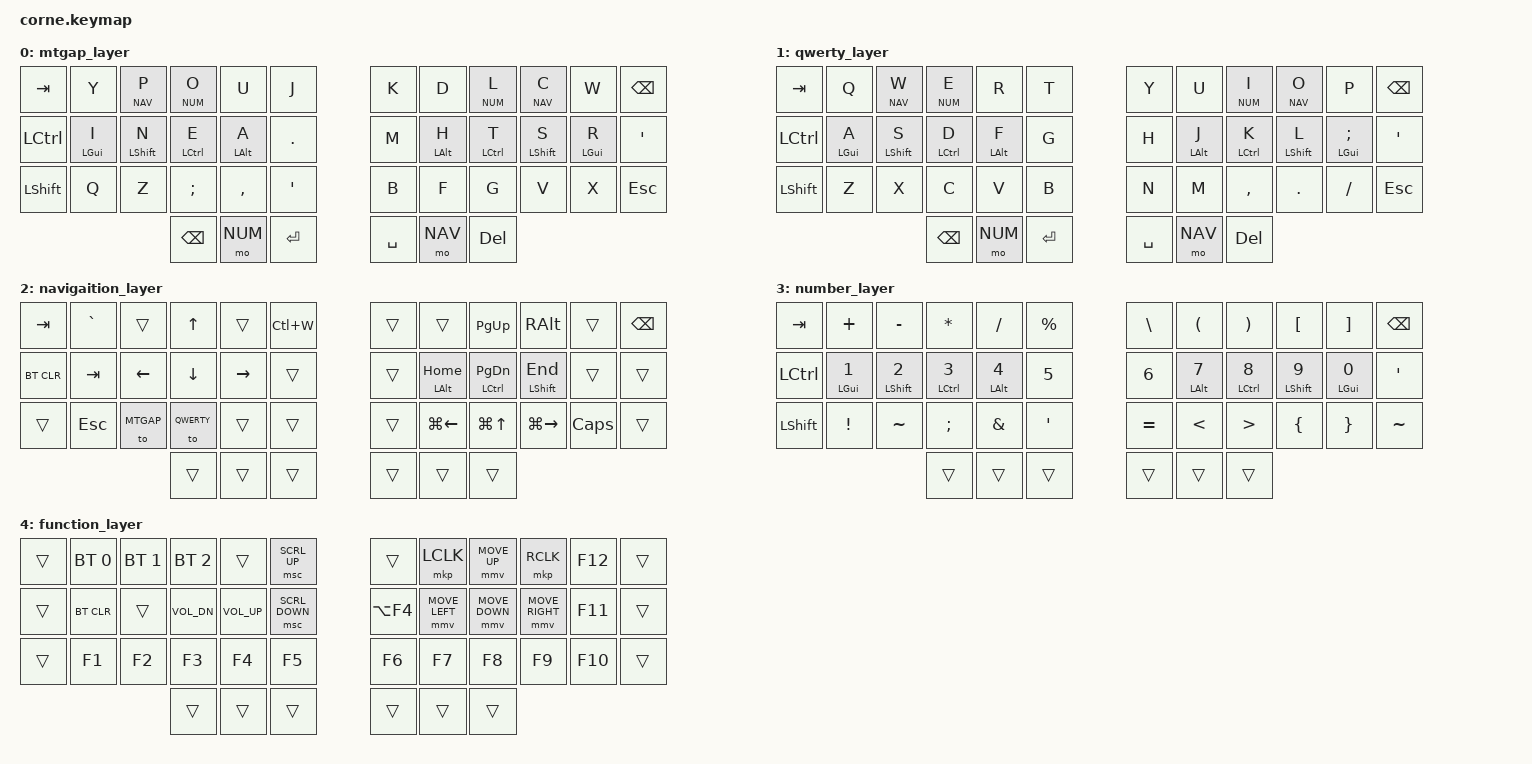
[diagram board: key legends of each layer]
/*
 * Copyright (c) 2020 The ZMK Contributors
 *
 * SPDX-License-Identifier: MIT
 */
 
#define MTGAP 0
#define QWERTY 1
#define NAV 2
#define NUM 3
#define FUNC 4
#define NOTHING 5

#include <behaviors/mouse_keys.dtsi>
#include <behaviors.dtsi>
#include <dt-bindings/zmk/bt.h>
#include <dt-bindings/zmk/keys.h>
#include <dt-bindings/zmk/mouse.h>

/ {
    conditional_layers {
        compatible = "zmk,conditional-layers";

        tri_layer {
            if-layers = <NAV NUM>;
            then-layer = <FUNC>;
        };
    };
};

/ {
    behaviors {
        ht: holdtap_tappreffered {
            compatible = "zmk,behavior-hold-tap";
            #binding-cells = <2>;
            flavor = "tap-preferred";
            tapping-term-ms = <200>;
            quick-tap-ms = <200>;
            require-prior-idle-ms = <125>;
            bindings = <&kp>, <&kp>;
        };
    };

    keymap {
        compatible = "zmk,keymap";

        mtgap_layer {
            // -----------------------------------------------------------------------------------------
            // |  TAB |  Y    |  P      |  O      |  U      |  J  |   |  K  |  D      |  L      |  C      |  W      | BKSP |
            // | CTRL | gui(I)|  sft(N) |  ctl(E) |  alt(A) |  .  |   |  M  |  alt(H) |  ctl(T) |  sft(S) |  gui(R) |  '   |
            // | SHFT |  Q    |  Z      |  ;      |  ,      |  '  |   |  B  |  F      |  G      |  V      |  X      | ESC  |
            //                          | bksp    | NUM     | SPC |   | ENT | RSE     | ALT     |

            bindings = <
&kp TAB    &kp Y       &lt NAV P    &lt NUM O    &kp U       &kp J        &kp K      &kp D       &lt NUM L    &lt NAV C    &kp W       &kp BSPC
&kp LCTRL  &ht LGUI I  &ht LSHFT N  &ht LCTRL E  &ht LALT A  &kp DOT      &kp M      &ht LALT H  &ht LCTRL T  &ht LSHFT S  &ht LGUI R  &kp SQT
&kp LSHFT  &kp Q       &kp Z        &kp SEMI     &kp COMMA   &kp SQT      &kp B      &kp F       &kp G        &kp V        &kp X       &kp ESC
                                    &kp BKSP     &mo NUM     &kp ENTER    &kp SPACE  &mo NAV     &kp DEL
            >;
        };

        qwerty_layer {
            // -----------------------------------------------------------------------------------------
            // |  TAB |  Q    |  W      |  E      |  R      |  T  |   |  Y  |  U      |  I      |  O      |  P      | BKSP |
            // | CTRL | gui(A)|  sft(S) |  ctl(D) |  alt(F) |  G  |   |  H  |  alt(J) |  ctl(K) |  sft(L) |  gui(;) |  '   |
            // | SHFT |  Z    |  X      |  C      |  V      |  B  |   |  N  |  M      |  ,      |  .      |  /      | ESC  |
            //                          | GUI     | LWR     | SPC |   | ENT | RSE     | ALT     |

            bindings = <
&kp TAB    &kp Q       &lt NAV W    &lt NUM E    &kp R       &kp T        &kp Y      &kp U       &lt NUM I    &lt NAV O    &kp P          &kp BSPC
&kp LCTRL  &ht LGUI A  &ht LSHFT S  &ht LCTRL D  &ht LALT F  &kp G        &kp H      &ht LALT J  &ht LCTRL K  &ht LSHFT L  &ht LGUI SEMI  &kp SQT
&kp LSHFT  &kp Z       &kp X        &kp C        &kp V       &kp B        &kp N      &kp M       &kp COMMA    &kp DOT      &kp FSLH       &kp ESC
                                    &kp BKSP     &mo NUM     &kp ENTER    &kp SPACE  &mo NAV     &kp DEL
            >;
        };

        navigaition_layer {
            // -----------------------------------------------------------------------------------------
            // |  TAB |  `  |     |  up |     |     |   |     |        | PGUP   | RALT  |     | BKSP |
            // | BTCLR| TAB | left| down|right|     |   |     |LA(HOME)|LC(PGDN)|LS(END)|     |      |
            // | SHFT | ESC |MTGAP|QWERT|     |     |   |     |G(left) |G(UP)   |G(RIGH)|CAPS |      |
            //                    |     |     |     |   |     |        |        |

            bindings = <
&kp TAB     &kp GRAVE  &trans     &kp UP      &trans     &kp LC(W)    &trans  &trans         &kp PG_UP        &kp RALT       &trans    &kp BSPC
&bt BT_CLR  &kp TAB    &kp LEFT   &kp DOWN    &kp RIGHT  &trans       &trans  &ht LALT HOME  &ht LCTRL PG_DN  &ht LSHFT END  &trans    &trans
&trans      &kp ESC    &to MTGAP  &to QWERTY  &trans     &trans       &trans  &kp LG(LEFT)   &kp LG(UP)       &kp LG(RIGHT)  &kp CAPS  &trans
                                  &trans      &trans     &trans       &trans  &trans         &trans
            >;
        };

        number_layer {
            // -----------------------------------------------------------------------------------------
            // |  TAB |  +  |  -  |  *  |  /  |  %  |   |  \  |  (  |  )  |  [  |  ]  | BKSP |
            // | CTRL |LG(1)|LS(2)|LC(3)|LA(4)|  5  |   |  6  |LA(7)|LC(8)|LS(9)|LG(0)|  `   |
            // | SHFT |  !  |  ~  |  ;  |  &  |  '  |   |  =  |  <  |  >  |  {  |  }  |  ~   |
            //                    | GUI |     | SPC |   | ENT |     | ALT |

            bindings = <
&kp TAB    &kp PLUS     &kp MINUS     &kp ASTRK     &kp SLASH    &kp PRCNT    &kp BSLH   &kp LPAR     &kp RPAR      &kp LBKT      &kp RBKT     &kp BSPC
&kp LCTRL  &ht LGUI N1  &ht LSHFT N2  &ht LCTRL N3  &ht LALT N4  &kp N5       &kp N6     &ht LALT N7  &ht LCTRL N8  &ht LSHFT N9  &ht LGUI N0  &kp SQT
&kp LSHFT  &kp EXCL     &kp TILDE     &kp SEMI      &kp AMPS     &kp SQT      &kp EQUAL  &kp LT       &kp GT        &kp LBRC      &kp RBRC     &kp TILDE
                                      &trans        &trans       &trans       &trans     &trans       &trans
            >;
        };

        function_layer {
            // -----------------------------------------------------------------------------------------
            // |      | BT1 | BT2 | BT3 |     |MSCDN|   |     |mkpL |mmvUP|mkpR | F12 |      |
            // |      |BTCLR|     |VOLDN|VOLUP|MSCUP|   |A(F4)|mmvLE|mmvDN|mmvRI| F11 |      |
            // |      | F1  | F2  | F3  | F4  | F5  |   | F6  | F7  | F8  | F9  | F10 |      |
            //                    | GUI |     | SPC |   | ENT |     | ALT |

            bindings = <
&trans  &bt BT_SEL 0  &bt BT_SEL 1  &bt BT_SEL 2  &trans        &msc SCRL_UP   &trans      &mkp LCLK       &mmv MOVE_UP    &mkp RCLK        &kp F12  &trans
&trans  &bt BT_CLR    &trans        &kp C_VOL_DN  &kp C_VOL_UP  &msc SCRL_DOWN &kp LA(F4)  &mmv MOVE_LEFT  &mmv MOVE_DOWN  &mmv MOVE_RIGHT  &kp F11  &trans
&trans  &kp F1        &kp F2        &kp F3        &kp F4        &kp F5         &kp F6      &kp F7          &kp F8          &kp F9           &kp F10  &trans
                                    &trans        &trans        &trans         &trans      &trans          &trans
            >;
        };
    };
};
